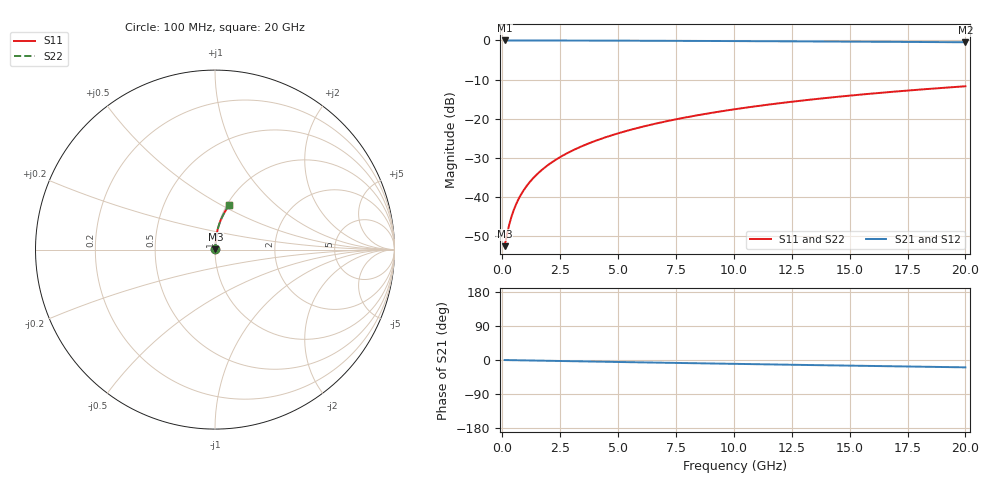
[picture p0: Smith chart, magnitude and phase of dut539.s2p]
! Touchstone file exported from HFSS 2024.1.0
!  File:  C:/UserFiles/LocalFiles/RDL_TSV_Batchsim/temp_RDL_top_539_1779680502.aedt
!  Generated:  11:44:20 AM May 25, 2026
!  Design:  RDL_top
!  Project:  temp_RDL_top_539_1779680502
!  Setup:  Setup1
!  Solution:  Sweep
! Variables:
!  dtsv = 10.80580581um
!  hbump = 3um
!  htsv = 53.39um
!  ldown = 100um
!  lrdl = 192.11um
!  p = 40
!  p1 = 54.81um
!  rhole = 1um
!  t = 450um
!  tdown = 3.915915916um
!  trdl = 2.89um
!  wdown = 15.38538539um
!  wrdl = 13.44um
# GHz S MA R 50.000000
! Terminal data exported
! Port[1] = Box2_T1
! Port[2] = Box2_T2
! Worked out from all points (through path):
!   200 points, 100 MHz to 20 GHz, reference 50 ohm
!   highest |S21| = -0.02 dB at 100 MHz (marker M1); lowest = -0.5 dB at 20 GHz (marker M2)
!   group delay of S21, straight-line fit = 2.69 ps
!   lowest |S11| = -52.5 dB at 100 MHz (marker M3), VSWR 1.00, Z = 50.2 + j0.134 ohm
!   |S11| at or under -10 dB: start of sweep to end of sweep
!   |S22| runs from -52.5 to -11.7 dB; largest |S21 - S12| = 2.9e-15
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0.1  0.002368 34.4  0.998 -0.1  0.998 -0.1  0.002368 34.4
! Gamma 0 0 0 0
! Port Impedance 50 0 50 0
0.2  0.003321 53.4  0.998 -0.2  0.998 -0.2  0.003321 53.4
0.3  0.004467 63.2  0.998 -0.3  0.998 -0.3  0.004467 63.2
0.4  0.00568 68.7  0.9979 -0.4  0.9979 -0.4  0.00568 68.7
0.5  0.00692 72.3  0.9979 -0.5  0.9979 -0.5  0.00692 72.3
0.6  0.008171 74.8  0.9978 -0.6  0.9978 -0.6  0.008171 74.8
0.8  0.01069 77.9  0.9977 -0.9  0.9977 -0.9  0.01069 77.9
1.1  0.01449 80.6  0.9975 -1.2  0.9975 -1.2  0.01449 80.6
1.5  0.01959 82.6  0.9972 -1.6  0.9972 -1.6  0.01959 82.6
1.8  0.02344 83.4  0.997 -1.9  0.997 -1.9  0.02344 83.4
2.1  0.02729 84.0  0.9967 -2.2  0.9967 -2.2  0.02729 84.0
2.7  0.03505 84.7  0.996 -2.9  0.996 -2.9  0.03505 84.7
3.5  0.04546 85.0  0.9949 -3.7  0.9949 -3.7  0.04546 85.0
4.2  0.05463 84.9  0.9938 -4.4  0.9938 -4.4  0.05463 84.9
5  0.06517 84.7  0.9923 -5.2  0.9923 -5.2  0.06517 84.7
5.9  0.0771 84.3  0.9904 -6.2  0.9904 -6.2  0.0771 84.3
6.8  0.08908 83.8  0.9884 -7.1  0.9884 -7.1  0.08908 83.8
8.3  0.1091 82.7  0.9847 -8.5  0.9847 -8.5  0.1091 82.7
10.1  0.1331 81.2  0.9797 -10.3  0.9797 -10.3  0.1331 81.2
13.4  0.1766 78.3  0.9697 -13.4  0.9697 -13.4  0.1766 78.3
16.7  0.219 75.2  0.9586 -16.4  0.9586 -16.4  0.219 75.2
20  0.2598 72.2  0.9465 -19.4  0.9465 -19.4  0.2598 72.2
